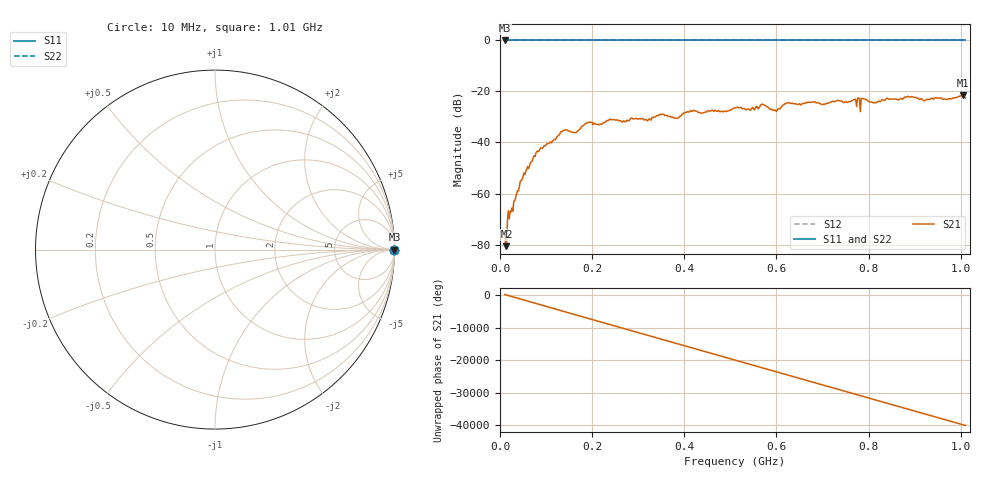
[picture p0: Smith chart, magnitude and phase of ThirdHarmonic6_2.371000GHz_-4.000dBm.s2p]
! 8/17/2025 3:42:31 AM
! C:\ANRITSUVNA\TEMP\TEMP.S2P
! CHANNEL.1
! TR.MEASUREMENT
! RAW.DATA
! RF.CORRECTION.OFF
! AVERAGING.OFF
! IF.BANDWIDTH: 5KHZ
! SWEEPTYPE:  FREQ.SWEEP(Linear)
! Reference Plane Port Info
! PORT:  PORT1  PORT2
! DISTANCE:  0  m  0  m
! TIME:  0  s  0  s
! PHASE.OFFSET:  0  deg.  0  deg.
! LOSS:  0  dB  0  dB
! REF.LOSS:  0  dB  0  dB
! REF.FREQ:  0  Hz  0  Hz
! Power Info
! POWER:  -20  dBm  -20  dBm
! EFF.POWER:  -20  dBm  -20  dBm
! SOURCE.ATTEN:  0  dB  0  dB
! TEST.ATTEN:  0  dB  0  dB
# GHZ S RI R 50.0
! FREQ.GHZ  S11RE  S11IM  S21RE  S21IM  S12RE  S12IM  S22RE  S22IM
!; PortSelection: Port_12
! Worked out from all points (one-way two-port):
!   501 points, 10 MHz to 1.01 GHz, reference 50 ohm
!   highest |S21| = -21.57 dB at 1.004 GHz (marker M1); lowest = -80.6 dB at 14 MHz (marker M2)
!   lowest |S11| = 0.0 dB at 10 MHz (marker M3)
!   |S11| at or under -10 dB: nowhere
!   |S22| runs from 0.0 to 0.0 dB; largest |S21 - S12| = 1.1
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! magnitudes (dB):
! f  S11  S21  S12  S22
! 10 MHz  0.0  -74.8  0.0  0.0
! 14 MHz  0.0  -80.6  0.0  0.0
! 20 MHz  0.0  -69.9  0.0  0.0
! 48 MHz  0.0  -54.6  0.0  0.0
! 78 MHz  0.0  -44.2  0.0  0.0
! 136 MHz  0.0  -35.6  0.0  0.0
! 164 MHz  0.0  -36.1  0.0  0.0
! 178 MHz  0.0  -33.6  0.0  0.0
! 242 MHz  0.0  -31.0  0.0  0.0
! 324 MHz  0.0  -30.7  0.0  0.0
! 344 MHz  0.0  -29.4  0.0  0.0
! 384 MHz  0.0  -30.4  0.0  0.0
! 416 MHz  0.0  -27.8  0.0  0.0
! 510 MHz  0.0  -26.4  0.0  0.0
! 540 MHz  0.0  -26.8  0.0  0.0
! 570 MHz  0.0  -25.0  0.0  0.0
! 598 MHz  0.0  -27.4  0.0  0.0
! 622 MHz  0.0  -24.6  0.0  0.0
! 678 MHz  0.0  -24.1  0.0  0.0
! 844 MHz  0.0  -23.1  0.0  0.0
! 1.004 GHz  0.0  -21.6  0.0  0.0
! 1.01 GHz  0.0  -22.5  0.0  0.0
